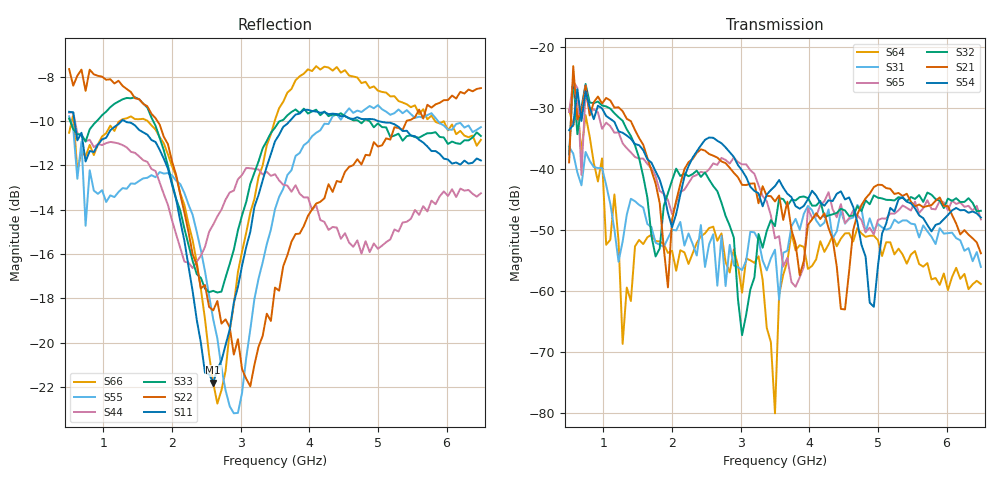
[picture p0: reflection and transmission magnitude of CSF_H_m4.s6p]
!Keysight Technologies,M9804A,MY58100912,A.14.10.03
!Date: Thursday, April 27, 2023 10:28:33
!Correction: S11(C  6-Port  )
!S12(C  6-Port  )
!S13(C  6-Port  )
!S14(C  6-Port  )
!S15(C  6-Port  )
!S16(C  6-Port  )
!S21(C  6-Port  )
!S22(C  6-Port  )
!S23(C  6-Port  )
!S24(C  6-Port  )
!S25(C  6-Port  )
!S26(C  6-Port  )
!S31(C  6-Port  )
!S32(C  6-Port  )
!S33(C  6-Port  )
!S34(C  6-Port  )
!S35(C  6-Port  )
!S36(C  6-Port  )
!S41(C  6-Port  )
!S42(C  6-Port  )
!S43(C  6-Port  )
!S44(C  6-Port  )
!S45(C  6-Port  )
!S46(C  6-Port  )
!S51(C  6-Port  )
!S52(C  6-Port  )
!S53(C  6-Port  )
!S54(C  6-Port  )
!S55(C  6-Port  )
!S56(C  6-Port  )
!S61(C  6-Port  )
!S62(C  6-Port  )
!S63(C  6-Port  )
!S64(C  6-Port  )
!S65(C  6-Port  )
!S66(C  6-Port  )
!S6P File: Measurement: :
# Hz S  RI  R 50
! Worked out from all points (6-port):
!   101 points, 500 MHz to 6.5 GHz, reference 50 ohm
!   strongest paths, dB at 500 MHz, 2 GHz, 3.5 GHz, 5 GHz, 6.5 GHz:
!     S54: -33.6, -49.5, -42.8, -55.9, -48.0
!     S21: -38.9, -48.3, -45.3, -42.6, -53.8
!     S32: -37.6, -41.9, -49.4, -44.7, -46.8
!     S65: -30.6, -47.4, -51.4, -48.3, -48.3
!     S31: -36.4, -50.0, -53.2, -49.0, -56.1
!     S64: -30.3, -53.4, -80.1, -51.7, -58.8
!   lowest |S11| = -21.8 dB at 2.6 GHz (marker M1), VSWR 1.18, Z = 42.7 + j1.98 ohm
!   |S11| at or under -10 dB: 579 MHz to 1.261 GHz (681.9 MHz wide, 74.1 % of centre); 1.316 GHz to 3.712 GHz (2.397 GHz wide, 95.3 % of centre); 5.015 GHz to end of sweep
